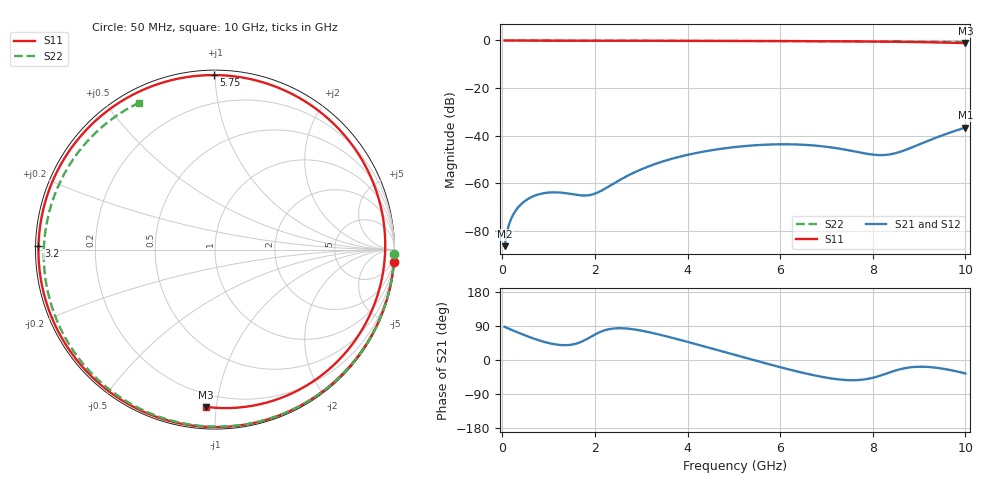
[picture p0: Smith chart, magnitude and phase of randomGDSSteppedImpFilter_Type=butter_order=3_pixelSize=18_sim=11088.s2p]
! freq	dB(S11)	phase(S11)	dB(S12)	phase(S12)
!  dB(S21)	phase(S21)	dB(S22)	phase(S22)
!S-par simulation data
#  GHz  S  DB  R 50
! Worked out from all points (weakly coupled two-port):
!   200 points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, 50 MHz to 10 GHz, reference 50 ohm
!   highest |S21| = -36.60 dB at 10 GHz (marker M1); lowest = -86.4 dB at 50 MHz (marker M2)
!   lowest |S11| = -1.1 dB at 10 GHz (marker M3), VSWR 15.36, Z = 6.15 - j46.9 ohm
!   |S11| at or under -10 dB: nowhere
!   |S22| runs from -0.7 to 0.0 dB; largest |S21 - S12| = 0
!   S11 on the Smith chart (normalised r, x): 50 MHz: 0, -28; 3.2 GHz: 0.01, +0.01; 5.75 GHz: 0.03, +0.99; 10 GHz: 0.12, -0.94
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0.05  -0.00 -4.1  -86.45 87.4  -86.45 87.4  -0.00 -1.3
0.1  -0.01 -8.2  -80.45 84.8  -80.45 84.8  -0.00 -2.5
0.25  -0.03 -20.3  -72.67 77.0  -72.67 77.0  -0.01 -6.2
0.4  -0.05 -32.2  -68.93 69.4  -68.93 69.4  -0.01 -9.9
0.85  -0.08 -65.7  -64.35 49.7  -64.35 49.7  -0.03 -21.0
1.25  -0.10 -91.8  -63.92 39.7  -63.92 39.7  -0.04 -30.8
1.75  -0.11 -119.7  -65.16 50.4  -65.16 50.4  -0.05 -42.8
2.05  -0.12 -134.3  -63.98 70.3  -63.98 70.3  -0.06 -49.9
2.45  -0.13 -152.0  -59.61 83.6  -59.61 83.6  -0.08 -59.3
3.2  -0.14 178.9  -52.62 72.5  -52.62 72.5  -0.10 -76.4
3.4  -0.15 171.7  -51.26 66.8  -51.26 66.8  -0.11 -80.9
4.2  -0.17 143.9  -47.25 41.2  -47.25 41.2  -0.14 -98.6
5.05  -0.21 115.0  -44.74 12.5  -44.74 12.5  -0.18 -117.1
5.75  -0.24 90.4  -43.75 -10.9  -43.75 -10.9  -0.22 -132.2
6.25  -0.27 72.2  -43.66 -26.7  -43.66 -26.7  -0.26 -143.1
6.7  -0.30 55.2  -44.09 -39.6  -44.09 -39.6  -0.30 -153.1
7.6  -0.39 19.3  -46.61 -53.3  -46.61 -53.3  -0.38 -174.0
8.35  -0.52 -12.5  -47.94 -33.4  -47.94 -33.4  -0.47 167.0
8.8  -0.62 -32.6  -45.31 -19.5  -45.31 -19.5  -0.53 154.8
9.3  -0.79 -56.1  -41.36 -19.5  -41.36 -19.5  -0.60 140.1
9.65  -0.94 -73.8  -38.83 -25.9  -38.83 -25.9  -0.66 129.0
10  -1.13 -93.2  -36.60 -35.5  -36.60 -35.5  -0.71 117.3
